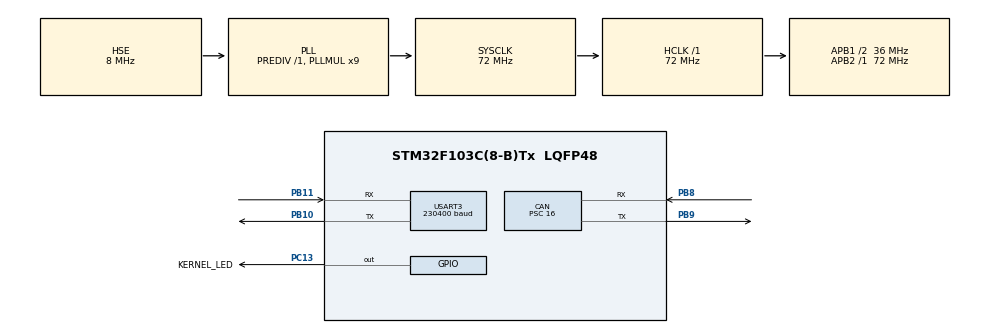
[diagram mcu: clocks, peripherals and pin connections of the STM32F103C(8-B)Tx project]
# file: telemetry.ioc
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CAN.BS1=CAN_BS1_13TQ
CAN.BS2=CAN_BS2_4TQ
CAN.CalculateBaudRate=125000
CAN.CalculateTimeBit=8000
CAN.CalculateTimeQuantum=444.44444444444446
CAN.Prescaler=16
FREERTOS.Tasks01=defaultTask,24,128,StartDefaultTask,Default,NULL,Dynamic,NULL,NULL
FREERTOS.configMAX_TASK_NAME_LEN=32
FREERTOS.configUSE_NEWLIB_REENTRANT=1
Mcu.Family=STM32F1
Mcu.Name=STM32F103C(8-B)Tx
Mcu.Package=LQFP48
NVIC.PriorityGroup=NVIC_PRIORITYGROUP_4
NVIC.TIM1_UP_IRQn=true\:15\:0\:false\:false\:true\:false\:false\:true\:true
NVIC.TimeBase=TIM1_UP_IRQn
NVIC.TimeBaseIP=TIM1
NVIC.USB_LP_CAN1_RX0_IRQn=true\:5\:0\:false\:false\:true\:true\:true\:true\:true
PA13.Mode=Serial_Wire
PA13.Signal=SYS_JTMS-SWDIO
PA14.Mode=Serial_Wire
PA14.Signal=SYS_JTCK-SWCLK
PB10.Mode=Asynchronous
PB10.Signal=USART3_TX
PB11.Mode=Asynchronous
PB11.Signal=USART3_RX
PB8.Mode=CAN_Activate
PB8.Signal=CAN_RX
PB9.Mode=CAN_Activate
PB9.Signal=CAN_TX
PC13-TAMPER-RTC.GPIO_Label=KERNEL_LED
PC13-TAMPER-RTC.Signal=GPIO_Output
PC14-OSC32_IN.Mode=LSE-External-Oscillator
PC14-OSC32_IN.Signal=RCC_OSC32_IN
PC15-OSC32_OUT.Mode=LSE-External-Oscillator
PC15-OSC32_OUT.Signal=RCC_OSC32_OUT
PD0-OSC_IN.Mode=HSE-External-Oscillator
PD0-OSC_IN.Signal=RCC_OSC_IN
PD1-OSC_OUT.Mode=HSE-External-Oscillator
PD1-OSC_OUT.Signal=RCC_OSC_OUT
ProjectManager.HeapSize=0x200
ProjectManager.StackSize=0x400
ProjectManager.TargetToolchain=STM32CubeIDE
RCC.AHBFreq_Value=72000000
RCC.APB1CLKDivider=RCC_HCLK_DIV2
RCC.APB1Freq_Value=36000000
RCC.APB1TimFreq_Value=72000000
RCC.APB2Freq_Value=72000000
RCC.APB2TimFreq_Value=72000000
RCC.HCLKFreq_Value=72000000
RCC.PLLMUL=RCC_PLL_MUL9
RCC.PLLSourceVirtual=RCC_PLLSOURCE_HSE
RCC.SYSCLKFreq_VALUE=72000000
RCC.SYSCLKSource=RCC_SYSCLKSOURCE_PLLCLK
RCC.USBFreq_Value=72000000
USART3.BaudRate=230400
USART3.VirtualMode=VM_ASYNC
VP_FREERTOS_VS_CMSIS_V2.Mode=CMSIS_V2
VP_SYS_VS_tim1.Mode=TIM1
board=custom

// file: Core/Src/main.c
/* USER CODE BEGIN Header */
/**
  ******************************************************************************
  * @file           : main.c
  * @brief          : Main program body
  ******************************************************************************
  * @attention
  *
  * Copyright (c) 2022 STMicroelectronics.
  * All rights reserved.
  *
  * This software is licensed under terms that can be found in the LICENSE file
  * in the root directory of this software component.
  * If no LICENSE file comes with this software, it is provided AS-IS.
  *
  ******************************************************************************
  */
/* USER CODE END Header */
#include "main.h"
#include "cmsis_os.h"
#include "can.h"
#include "usart.h"
#include "gpio.h"

/* USER CODE BEGIN Includes */

#include "can.h"

/* USER CODE END Includes */

/* USER CODE BEGIN PV */

CAN_FilterTypeDef CAN_filter0;
CAN_FilterTypeDef CAN_filter1;

CAN_RxHeaderTypeDef can_rx_header;

HAL_StatusTypeDef can_start;

uint8_t current_can_data[8];
HAL_StatusTypeDef rx_status;

/* USER CODE END PV */

void SystemClock_Config(void);
void MX_FREERTOS_Init(void);

int main(void)
{
  /* USER CODE BEGIN 1 */
  HAL_NVIC_SetPriorityGrouping(NVIC_PRIORITYGROUP_4);

  /* USER CODE END 1 */

  /* MCU Configuration--------------------------------------------------------*/

  /* Reset of all peripherals, Initializes the Flash interface and the Systick. */
  HAL_Init();

  /* Configure the system clock */
  SystemClock_Config();

  /* Initialize all configured peripherals */
  MX_GPIO_Init();
  MX_CAN_Init();
  MX_USART3_UART_Init();
  /* USER CODE BEGIN 2 */

  // <----- CAN set-up ------>
  CanFilterSetup();
  can_start = HAL_CAN_Start(&hcan);
  assert_param(can_start == HAL_OK);

  HAL_StatusTypeDef can_notification_status = HAL_CAN_ActivateNotification(&hcan, CAN_IT_RX_FIFO0_MSG_PENDING);
  assert_param(can_notification_status == HAL_OK);

  // XBee Setup
  // XBeeInit();

  /* USER CODE END 2 */

  /* Init scheduler */
  osKernelInitialize();  /* Call init function for freertos objects (in freertos.c) */
  MX_FREERTOS_Init();

  /* Start scheduler */
  osKernelStart();

  /* We should never get here as control is now taken by the scheduler */
  /* Infinite loop */
  while (1)
  {

  }
}

void SystemClock_Config(void)
{
  RCC_OscInitTypeDef RCC_OscInitStruct = {0};
  RCC_ClkInitTypeDef RCC_ClkInitStruct = {0};

  /** Initializes the RCC Oscillators according to the specified parameters
  * in the RCC_OscInitTypeDef structure.
  */
  RCC_OscInitStruct.OscillatorType = RCC_OSCILLATORTYPE_HSE;
  RCC_OscInitStruct.HSEState = RCC_HSE_ON;
  RCC_OscInitStruct.HSEPredivValue = RCC_HSE_PREDIV_DIV1;
  RCC_OscInitStruct.HSIState = RCC_HSI_ON;
  RCC_OscInitStruct.PLL.PLLState = RCC_PLL_ON;
  RCC_OscInitStruct.PLL.PLLSource = RCC_PLLSOURCE_HSE;
  RCC_OscInitStruct.PLL.PLLMUL = RCC_PLL_MUL9;
  if (HAL_RCC_OscConfig(&RCC_OscInitStruct) != HAL_OK)
  {
    Error_Handler();
  }

  /** Initializes the CPU, AHB and APB buses clocks
  */
  RCC_ClkInitStruct.ClockType = RCC_CLOCKTYPE_HCLK|RCC_CLOCKTYPE_SYSCLK
                              |RCC_CLOCKTYPE_PCLK1|RCC_CLOCKTYPE_PCLK2;
  RCC_ClkInitStruct.SYSCLKSource = RCC_SYSCLKSOURCE_PLLCLK;
  RCC_ClkInitStruct.AHBCLKDivider = RCC_SYSCLK_DIV1;
  RCC_ClkInitStruct.APB1CLKDivider = RCC_HCLK_DIV2;
  RCC_ClkInitStruct.APB2CLKDivider = RCC_HCLK_DIV1;

  if (HAL_RCC_ClockConfig(&RCC_ClkInitStruct, FLASH_LATENCY_2) != HAL_OK)
  {
    Error_Handler();
  }
}

void HAL_TIM_PeriodElapsedCallback(TIM_HandleTypeDef *htim)
{
  if (htim->Instance == TIM1) {
    HAL_IncTick();
  }
}

void Error_Handler(void)
{
  __disable_irq();
  while (1)
  {
  }
}

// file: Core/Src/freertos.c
/* USER CODE BEGIN Header */
/**
 ******************************************************************************
 * File Name          : freertos.c
 * Description        : Code for freertos applications
 ******************************************************************************
 * @attention
 *
 * Copyright (c) 2022 STMicroelectronics.
 * All rights reserved.
 *
 * This software is licensed under terms that can be found in the LICENSE file
 * in the root directory of this software component.
 * If no LICENSE file comes with this software, it is provided AS-IS.
 *
 ******************************************************************************
 */
/* USER CODE END Header */

#include "FreeRTOS.h"
#include "task.h"
#include "main.h"
#include "cmsis_os.h"

/* USER CODE BEGIN Includes */

#include "can.h"
#include "usart.h"

/* USER CODE END Includes */

/* USER CODE BEGIN PD */

#define KERNEL_LED_DELAY 200

#define CAN_MESSAGE_QUEUE_SIZE 10

/* USER CODE END PD */

/* USER CODE BEGIN Variables */

const osThreadAttr_t readCANTask_attributes = {
  .name = "readCANTask",
  .stack_size = 128 * 8,
  .priority = (osPriority_t) osPriorityNormal,
};

const osThreadAttr_t transmitMessageTask_attributes = {
  .name = "transmitMessageTask",
  .stack_size = 128 * 8,
  .priority = (osPriority_t) osPriorityNormal,
};

const osThreadAttr_t kernelLEDTask_attributes = {
  .name = "kernelLEDTask",
  .stack_size = 128 * 8,
  .priority = (osPriority_t) osPriorityNormal,
};

const osThreadAttr_t changeRadioSettingsTask_attributes = {
  .name = "changeRadioSettings",
  .stack_size = 128 * 8,
  .priority = (osPriority_t) osPriorityNormal,
};

const osMessageQueueAttr_t canMessageQueue_attributes = {
  .name = "canMessageQueue"
};

osThreadId_t readCANTaskHandle;
osThreadId_t kernelLEDTaskHandle;
osThreadId_t transmitMessageTaskHandle;
osThreadId_t changeRadioSettingsTaskHandle;

osMessageQueueId_t canMessageQueueHandle;

/* USER CODE END Variables */
/* Definitions for defaultTask */
osThreadId_t defaultTaskHandle;
const osThreadAttr_t defaultTask_attributes = {
  .name = "defaultTask",
  .stack_size = 128 * 4,
  .priority = (osPriority_t) osPriorityNormal,
};

/* USER CODE BEGIN FunctionPrototypes */

void kernelLEDTask (void *argument);
void readCANTask(void *argument);
void transmitMessageTask(void *argument);
void changeRadioSettingsTask(void *argument);

void sendByte(char c);
void sendChar(char c);

/* USER CODE END FunctionPrototypes */

void StartDefaultTask(void *argument);

void MX_FREERTOS_Init(void); /* (MISRA C 2004 rule 8.1) */

void MX_FREERTOS_Init(void) {

  /* USER CODE BEGIN RTOS_QUEUES */

  canMessageQueueHandle = osMessageQueueNew(CAN_MESSAGE_QUEUE_SIZE, sizeof(CAN_msg_t), &canMessageQueue_attributes);

  /* USER CODE END RTOS_QUEUES */

  /* Create the thread(s) */
  /* creation of defaultTask */
  // defaultTaskHandle = osThreadNew(StartDefaultTask, NULL, &defaultTask_attributes);

  /* USER CODE BEGIN RTOS_THREADS */

  // kernelLEDTaskHandle = osThreadNew(kernelLEDTask, NULL, &kernelLEDTask_attributes);

  readCANTaskHandle = osThreadNew(readCANTask, NULL, &readCANTask_attributes);
  transmitMessageTaskHandle = osThreadNew(transmitMessageTask, NULL, &transmitMessageTask_attributes);

  // changeRadioSettingsTaskHandle = osThreadNew(changeRadioSettingsTask, NULL, &changeRadioSettingsTask_attributes);

  /* USER CODE END RTOS_THREADS */

}

void StartDefaultTask(void *argument)
{
  for(;;)
  {
    osDelay(1);
  }
}

/* USER CODE BEGIN Application */

__NO_RETURN void kernelLEDTask (void *argument) {
  osKernelState_t kernel_status;

  while (1) {
    kernel_status = osKernelGetState();

    if (kernel_status == osKernelRunning) {
      HAL_GPIO_TogglePin(KERNEL_LED_GPIO_Port, KERNEL_LED_Pin);
    }

    osDelay(KERNEL_LED_DELAY);
  }
}

__NO_RETURN void readCANTask(void *argument) {
  static HAL_StatusTypeDef rx_status;
  static CAN_msg_t current_can_message;

  while (1) {
    if (HAL_CAN_GetRxFifoFillLevel(&hcan, CAN_RX_FIFO0) != 0) {
      // there are multiple CAN IDs being passed through the filter, pull out the current message
      rx_status = HAL_CAN_GetRxMessage(&hcan, CAN_RX_FIFO0, &can_rx_header, current_can_data);
      HAL_GPIO_TogglePin(KERNEL_LED_GPIO_Port, KERNEL_LED_Pin);

      // package into CAN_msg_t
      current_can_message.header = can_rx_header;
      for (uint8_t i=0; i<8; i++) {
        current_can_message.data[i] = current_can_data[i];
      }

      // priority=0, timeout=0
      osMessageQueuePut(canMessageQueueHandle, &current_can_message, 0U, 0U);
    }
    osDelay(100);
  }
}

__NO_RETURN void transmitMessageTask(void *argument) {
  static CAN_msg_t can_message;
  osStatus_t queue_status;

  while (1) {
    // retrieve CAN message from queue
    queue_status = osMessageQueueGet(canMessageQueueHandle, &can_message, NULL, osWaitForever);

    if (queue_status != osOK) {
        osThreadYield();
    }

    uint8_t c[1] = "D";

    // TIMESTAMP: 8 ASCII characters
    for (uint8_t i=0; i<8; i++) {
      // send 'D' as placeholder
      HAL_UART_Transmit(&huart3, c, sizeof(c), 1000);
    }

    // CAN ID: 4 ASCII characters
    uint8_t id_h = 0xFFUL & (can_message.header.StdId >> 8);
    uint8_t id_l = 0xFFUL & (can_message.header.StdId);

    sendChar(id_h);
    sendChar(id_l);

    // CAN DATA: 16 ASCII characters
    for (uint8_t i=0; i<8; i++) {
      // can_stream[2+i] = 0xFFUL & (can_message.data[i]);
      sendChar(can_message.data[i]);
    }

    // CAN DATA LENGTH: 1 ASCII character
    uint8_t length = "0123456789ABCDEF"[ can_message.header.DLC & 0xFUL];
    HAL_UART_Transmit(&huart3, &length, 1, 1000);

    // NEW LINE: 1 ASCII character
    uint8_t newline[1] = "\n";
    HAL_UART_Transmit(&huart3, newline, sizeof(newline), 1000);

    // CARRIAGE RETURN: 1 ASCII character
    uint8_t carriage[1] = "\r";
    HAL_UART_Transmit(&huart3, carriage, sizeof(carriage), 1000);
  }
}

__NO_RETURN void changeRadioSettingsTask(void *argument) {

  while(1) {
    // enter command mode
    uint8_t tripleplus[3] = {'+', '+', '+'};

    osDelay(1000);
    HAL_UART_Transmit(&huart3, tripleplus, sizeof(tripleplus), 1000);
    osDelay(2000);

    uint8_t check_dl[5] = "ATDL\r";
    HAL_UART_Transmit(&huart3, check_dl, sizeof(check_dl), 1000);

    osDelay(1000);

    // send destination low change AT command
    uint8_t change_dl[15] = "ATDL 418C9CBD\r";
    HAL_UART_Transmit(&huart3, change_dl, sizeof(change_dl), 1000);

    osDelay(1000);

    // send ATDL
    HAL_UART_Transmit(&huart3, check_dl, sizeof(check_dl), 1000);

    osDelay(1000);

    // send "ATAC" (apply changes)
    uint8_t apply_changes[5] = "ATAC\r";
    HAL_UART_Transmit(&huart3, apply_changes, sizeof(apply_changes), 1000);

    osDelay(1000);

    // send "ATWR" (write changes to non-volatile memory)
    uint8_t write_changes[5] = "ATWR\r";
    HAL_UART_Transmit(&huart3, write_changes, sizeof(write_changes), 1000);

    osDelay(1000);

    HAL_GPIO_WritePin(KERNEL_LED_GPIO_Port, KERNEL_LED_Pin, GPIO_PIN_SET);

    osThreadExit();
  }
}

void sendChar(char c)
{
	HAL_StatusTypeDef uart_tx_status;

  //Convert to ASCII
  uint8_t c_H = "0123456789ABCDEF"[(c >> 4) & 0xFUL];
  uint8_t c_L = "0123456789ABCDEF"[ c & 0xFUL];

  uart_tx_status = HAL_UART_Transmit(&huart3, &c_H, 1, 1000);
  uart_tx_status = HAL_UART_Transmit(&huart3, &c_L, 1, 1000);
}

/* USER CODE END Application */
